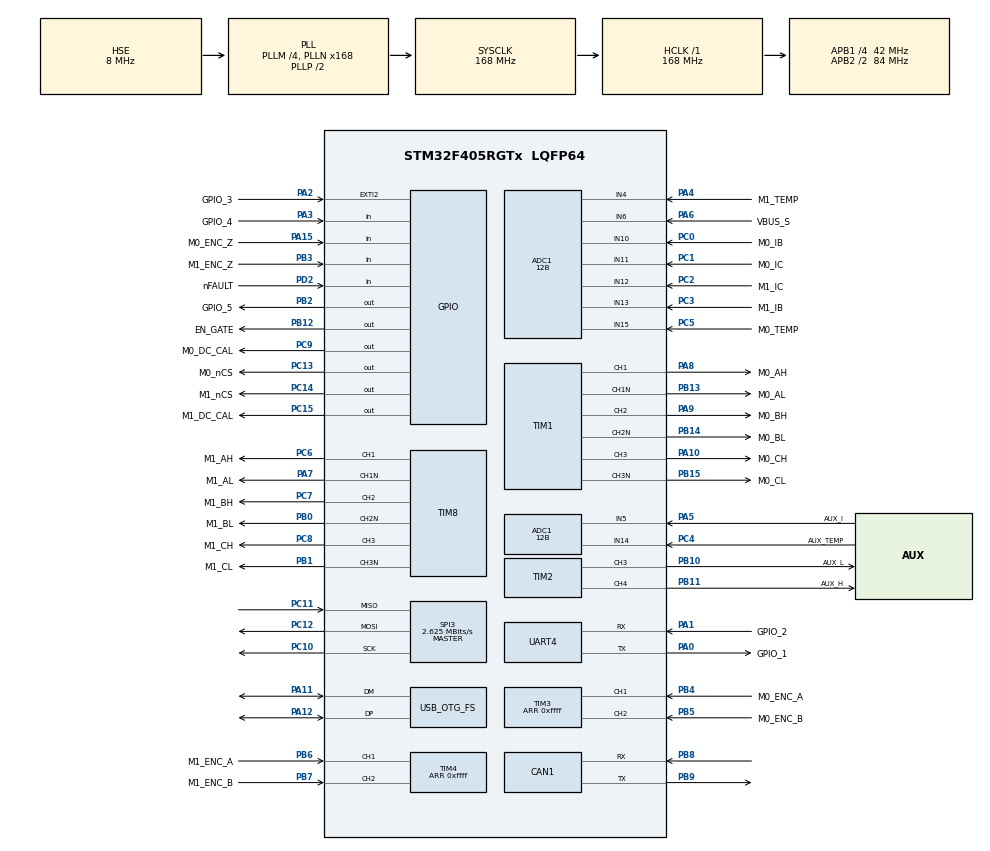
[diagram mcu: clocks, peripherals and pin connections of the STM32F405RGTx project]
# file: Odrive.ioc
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ADC1.Channel-0\#ChannelRegularConversion=ADC_CHANNEL_6
ADC1.Channel-1\#ChannelInjectedConversion=ADC_CHANNEL_6
ADC1.ClockPrescaler=ADC_CLOCK_SYNC_PCLK_DIV4
ADC1.ContinuousConvMode=DISABLE
ADC1.DMAContinuousRequests=DISABLE
ADC1.DataAlign=ADC_DATAALIGN_RIGHT
ADC1.DiscontinuousConvMode=DISABLE
ADC1.EOCSelection=ADC_EOC_SINGLE_CONV
ADC1.EnableAnalogWatchDog=false
ADC1.ExternalTrigConv=ADC_SOFTWARE_START
ADC1.ExternalTrigConvEdge=ADC_EXTERNALTRIGCONVEDGE_NONE
ADC1.ExternalTrigInjecConv=ADC_EXTERNALTRIGINJECCONV_T1_TRGO
ADC1.ExternalTrigInjecConvEdge=ADC_EXTERNALTRIGINJECCONVEDGE_RISING
ADC1.InjNumberOfConversion=1
ADC1.InjectedConvMode=None
ADC1.InjectedOffset-1\#ChannelInjectedConversion=0
ADC1.NbrOfConversion=1
ADC1.NbrOfConversionFlag=1
ADC1.Rank-0\#ChannelRegularConversion=1
ADC1.Rank-1\#ChannelInjectedConversion=1
ADC1.Resolution=ADC_RESOLUTION_12B
ADC1.SamplingTime-0\#ChannelRegularConversion=ADC_SAMPLETIME_3CYCLES
ADC1.SamplingTime-1\#ChannelInjectedConversion=ADC_SAMPLETIME_3CYCLES
ADC1.ScanConvMode=DISABLE
ADC1.master=1
ADC2.Channel-0\#ChannelRegularConversion=ADC_CHANNEL_13
ADC2.Channel-1\#ChannelInjectedConversion=ADC_CHANNEL_10
ADC2.ClockPrescaler=ADC_CLOCK_SYNC_PCLK_DIV4
ADC2.ContinuousConvMode=DISABLE
ADC2.DMAContinuousRequests=DISABLE
ADC2.DataAlign=ADC_DATAALIGN_RIGHT
ADC2.DiscontinuousConvMode=DISABLE
ADC2.EOCSelection=ADC_EOC_SINGLE_CONV
ADC2.EnableAnalogWatchDog=false
ADC2.ExternalTrigConv=ADC_EXTERNALTRIGCONV_T8_TRGO
ADC2.ExternalTrigConvEdge=ADC_EXTERNALTRIGCONVEDGE_RISING
ADC2.ExternalTrigInjecConv=ADC_EXTERNALTRIGINJECCONV_T1_TRGO
ADC2.ExternalTrigInjecConvEdge=ADC_EXTERNALTRIGINJECCONVEDGE_RISING
ADC2.InjNumberOfConversion=1
ADC2.InjectedConvMode=None
ADC2.InjectedOffset-1\#ChannelInjectedConversion=0
ADC2.NbrOfConversion=1
ADC2.NbrOfConversionFlag=1
ADC2.Rank-0\#ChannelRegularConversion=1
ADC2.Rank-1\#ChannelInjectedConversion=1
ADC2.Resolution=ADC_RESOLUTION_12B
ADC2.SamplingTime-0\#ChannelRegularConversion=ADC_SAMPLETIME_3CYCLES
ADC2.SamplingTime-1\#ChannelInjectedConversion=ADC_SAMPLETIME_3CYCLES
ADC2.ScanConvMode=DISABLE
ADC3.Channel-7\#ChannelRegularConversion=ADC_CHANNEL_12
ADC3.Channel-8\#ChannelInjectedConversion=ADC_CHANNEL_11
ADC3.ClockPrescaler=ADC_CLOCK_SYNC_PCLK_DIV4
ADC3.ContinuousConvMode=DISABLE
ADC3.DMAContinuousRequests=DISABLE
ADC3.DataAlign=ADC_DATAALIGN_RIGHT
ADC3.DiscontinuousConvMode=DISABLE
ADC3.EOCSelection=ADC_EOC_SINGLE_CONV
ADC3.EnableAnalogWatchDog=false
ADC3.ExternalTrigConv=ADC_EXTERNALTRIGCONV_T8_TRGO
ADC3.ExternalTrigConvEdge=ADC_EXTERNALTRIGCONVEDGE_RISING
ADC3.ExternalTrigInjecConv=ADC_EXTERNALTRIGINJECCONV_T1_TRGO
ADC3.ExternalTrigInjecConvEdge=ADC_EXTERNALTRIGINJECCONVEDGE_RISING
ADC3.InjNumberOfConversion=1
ADC3.InjectedConvMode=None
ADC3.InjectedOffset-8\#ChannelInjectedConversion=0
ADC3.NbrOfConversion=1
ADC3.NbrOfConversionFlag=1
ADC3.Rank-7\#ChannelRegularConversion=1
ADC3.Rank-8\#ChannelInjectedConversion=1
ADC3.Resolution=ADC_RESOLUTION_12B
ADC3.SamplingTime-7\#ChannelRegularConversion=ADC_SAMPLETIME_3CYCLES
ADC3.SamplingTime-8\#ChannelInjectedConversion=ADC_SAMPLETIME_3CYCLES
ADC3.ScanConvMode=DISABLE
CAN1.BS1=CAN_BS1_1TQ
CAN1.BS2=CAN_BS2_1TQ
CAN1.CalculateTimeBit=1142
CAN1.CalculateTimeQuantum=380.95238095238096
Dma.Request0=UART4_RX
Dma.Request1=UART4_TX
Dma.UART4_RX.0.Direction=DMA_PERIPH_TO_MEMORY
Dma.UART4_RX.0.FIFOMode=DMA_FIFOMODE_DISABLE
Dma.UART4_RX.0.Instance=DMA1_Stream2
Dma.UART4_RX.0.MemDataAlignment=DMA_MDATAALIGN_BYTE
Dma.UART4_RX.0.MemInc=DMA_MINC_ENABLE
Dma.UART4_RX.0.Mode=DMA_CIRCULAR
Dma.UART4_RX.0.PeriphDataAlignment=DMA_PDATAALIGN_BYTE
Dma.UART4_RX.0.PeriphInc=DMA_PINC_DISABLE
Dma.UART4_RX.0.Priority=DMA_PRIORITY_LOW
Dma.UART4_TX.1.Direction=DMA_MEMORY_TO_PERIPH
Dma.UART4_TX.1.FIFOMode=DMA_FIFOMODE_DISABLE
Dma.UART4_TX.1.Instance=DMA1_Stream4
Dma.UART4_TX.1.MemDataAlignment=DMA_MDATAALIGN_BYTE
Dma.UART4_TX.1.MemInc=DMA_MINC_ENABLE
Dma.UART4_TX.1.Mode=DMA_NORMAL
Dma.UART4_TX.1.PeriphDataAlignment=DMA_PDATAALIGN_BYTE
Dma.UART4_TX.1.PeriphInc=DMA_PINC_DISABLE
Dma.UART4_TX.1.Priority=DMA_PRIORITY_LOW
FREERTOS.INCLUDE_vTaskDelayUntil=1
FREERTOS.Tasks01=defaultTask,-3,256,StartDefaultTask,Default
Mcu.Family=STM32F4
Mcu.Name=STM32F405RGTx
Mcu.Package=LQFP64
Mcu.UserConstants=TIM_1_8_CLOCK_HZ,168000000;TIM_1_8_PERIOD_CLOCKS,10192;TIM_1_8_DEADTIME_CLOCKS,20;TIM_APB1_CLOCK_HZ,84000000;TIM_APB1_PERIOD_CLOCKS,4096;TIM_APB1_DEADTIME_CLOCKS,40
NVIC.ADC_IRQn=true\:5\:0\:false\:false\:true\:true\:true
NVIC.DMA1_Stream2_IRQn=true\:5\:0\:false\:false\:true\:true\:true
NVIC.DMA1_Stream4_IRQn=true\:5\:0\:false\:false\:true\:true\:false
NVIC.EXTI2_IRQn=true\:0\:0\:false\:false\:false\:false\:true
NVIC.OTG_FS_IRQn=true\:5\:0\:false\:false\:true\:true\:true
NVIC.PriorityGroup=NVIC_PRIORITYGROUP_4
NVIC.TIM1_UP_TIM10_IRQn=true\:5\:0\:false\:false\:true\:true\:true
NVIC.TIM8_TRG_COM_TIM14_IRQn=true\:0\:0\:false\:false\:true\:false\:false
NVIC.TimeBase=TIM8_TRG_COM_TIM14_IRQn
NVIC.TimeBaseIP=TIM14
NVIC.UART4_IRQn=true\:5\:0\:false\:false\:true\:true\:true
PA0-WKUP.GPIO_Label=GPIO_1
PA0-WKUP.GPIO_PuPd=GPIO_PULLDOWN
PA0-WKUP.Signal=SharedStack_PA0
PA0-WKUP.Stacked=true
PA1.GPIO_Label=GPIO_2
PA1.GPIO_PuPd=GPIO_NOPULL
PA1.Signal=SharedStack_PA1
PA1.Stacked=true
PA10.GPIO_Label=M0_CH
PA10.Signal=S_TIM1_CH3
PA11.Mode=Device_Only
PA11.Signal=USB_OTG_FS_DM
PA12.Mode=Device_Only
PA12.Signal=USB_OTG_FS_DP
PA13.Mode=Serial_Wire
PA13.Signal=SYS_JTMS-SWDIO
PA14.Mode=Serial_Wire
PA14.Signal=SYS_JTCK-SWCLK
PA15.GPIO_Label=M0_ENC_Z
PA15.Signal=GPIO_Input
PA2.GPIO_Label=GPIO_3
PA2.GPIO_PuPd=GPIO_PULLDOWN
PA2.Signal=GPXTI2
PA3.GPIO_Label=GPIO_4
PA3.GPIO_PuPd=GPIO_NOPULL
PA3.Signal=GPIO_Input
PA4.GPIO_Label=M1_TEMP
PA4.Signal=ADCx_IN4
PA5.GPIO_Label=AUX_I
PA5.Signal=ADCx_IN5
PA6.GPIO_Label=VBUS_S
PA6.Signal=ADCx_IN6
PA7.GPIO_Label=M1_AL
PA7.Mode=PWM Generation1 CH1 CH1N
PA7.Signal=TIM8_CH1N
PA8.GPIO_Label=M0_AH
PA8.Signal=S_TIM1_CH1
PA9.GPIO_Label=M0_BH
PA9.Signal=S_TIM1_CH2
PB0.GPIO_Label=M1_BL
PB0.Mode=PWM Generation2 CH2 CH2N
PB0.Signal=TIM8_CH2N
PB1.GPIO_Label=M1_CL
PB1.Mode=PWM Generation3 CH3 CH3N
PB1.Signal=TIM8_CH3N
PB10.GPIO_Label=AUX_L
PB10.Signal=S_TIM2_CH3
PB11.GPIO_Label=AUX_H
PB11.Signal=S_TIM2_CH4
PB12.GPIO_Label=EN_GATE
PB12.Signal=GPIO_Output
PB13.GPIO_Label=M0_AL
PB13.Mode=PWM Generation1 CH1 CH1N
PB13.Signal=TIM1_CH1N
PB14.GPIO_Label=M0_BL
PB14.Mode=PWM Generation2 CH2 CH2N
PB14.Signal=TIM1_CH2N
PB15.GPIO_Label=M0_CL
PB15.Mode=PWM Generation3 CH3 CH3N
PB15.Signal=TIM1_CH3N
PB2.GPIO_Label=GPIO_5
PB2.Signal=GPIO_Output
PB3.GPIO_Label=M1_ENC_Z
PB3.Signal=GPIO_Input
PB4.GPIO_Label=M0_ENC_A
PB4.Signal=S_TIM3_CH1
PB5.GPIO_Label=M0_ENC_B
PB5.Signal=S_TIM3_CH2
PB6.GPIO_Label=M1_ENC_A
PB6.Signal=S_TIM4_CH1
PB7.GPIO_Label=M1_ENC_B
PB7.Signal=S_TIM4_CH2
PB8.Mode=Master
PB8.Signal=CAN1_RX
PB9.Mode=Master
PB9.Signal=CAN1_TX
PC0.GPIO_Label=M0_IB
PC0.Signal=ADCx_IN10
PC1.GPIO_Label=M0_IC
PC1.Signal=ADCx_IN11
PC10.Mode=Full_Duplex_Master
PC10.Signal=SPI3_SCK
PC11.Mode=Full_Duplex_Master
PC11.Signal=SPI3_MISO
PC12.Mode=Full_Duplex_Master
PC12.Signal=SPI3_MOSI
PC13-ANTI_TAMP.GPIO_Label=M0_nCS
PC13-ANTI_TAMP.PinState=GPIO_PIN_SET
PC13-ANTI_TAMP.Signal=GPIO_Output
PC14-OSC32_IN.GPIO_Label=M1_nCS
PC14-OSC32_IN.PinState=GPIO_PIN_SET
PC14-OSC32_IN.Signal=GPIO_Output
PC15-OSC32_OUT.GPIO_Label=M1_DC_CAL
PC15-OSC32_OUT.Signal=GPIO_Output
PC2.GPIO_Label=M1_IC
PC2.Signal=ADCx_IN12
PC3.GPIO_Label=M1_IB
PC3.Signal=ADCx_IN13
PC4.GPIO_Label=AUX_TEMP
PC4.Signal=ADCx_IN14
PC5.GPIO_Label=M0_TEMP
PC5.Signal=ADCx_IN15
PC6.GPIO_Label=M1_AH
PC6.Signal=S_TIM8_CH1
PC7.GPIO_Label=M1_BH
PC7.Signal=S_TIM8_CH2
PC8.GPIO_Label=M1_CH
PC8.Signal=S_TIM8_CH3
PC9.GPIO_Label=M0_DC_CAL
PC9.Signal=GPIO_Output
PD2.GPIO_Label=nFAULT
PD2.GPIO_PuPd=GPIO_PULLUP
PD2.Signal=GPIO_Input
PH0-OSC_IN.Mode=HSE-External-Oscillator
PH0-OSC_IN.Signal=RCC_OSC_IN
PH1-OSC_OUT.Mode=HSE-External-Oscillator
PH1-OSC_OUT.Signal=RCC_OSC_OUT
ProjectManager.HeapSize=0x3C00
ProjectManager.StackSize=0x800
ProjectManager.TargetToolchain=SW4STM32
RCC.48MHZClocksFreq_Value=48000000
RCC.AHBFreq_Value=168000000
RCC.APB1CLKDivider=RCC_HCLK_DIV4
RCC.APB1Freq_Value=42000000
RCC.APB1TimFreq_Value=84000000
RCC.APB2CLKDivider=RCC_HCLK_DIV2
RCC.APB2Freq_Value=84000000
RCC.APB2TimCLKDivider=1
RCC.APB2TimFreq_Value=84000000
RCC.CortexFreq_Value=168000000
RCC.HCLKFreq_Value=168000000
RCC.HSE_VALUE=8000000
RCC.HSI_VALUE=16000000
RCC.LSE_VALUE=32768
RCC.PLLM=4
RCC.PLLN=168
RCC.PLLQ=7
RCC.SYSCLKFreq_VALUE=168000000
RCC.SYSCLKSource=RCC_SYSCLKSOURCE_PLLCLK
RCC.VCOOutputFreq_Value=336000000
SH.ADCx_IN10.0=ADC1_IN10,IN10
SH.ADCx_IN10.1=ADC2_IN10,IN10
SH.ADCx_IN10.2=ADC3_IN10,IN10
SH.ADCx_IN11.0=ADC1_IN11,IN11
SH.ADCx_IN11.1=ADC2_IN11,IN11
SH.ADCx_IN11.2=ADC3_IN11,IN11
SH.ADCx_IN12.0=ADC1_IN12,IN12
SH.ADCx_IN12.1=ADC2_IN12,IN12
SH.ADCx_IN12.2=ADC3_IN12,IN12
SH.ADCx_IN13.0=ADC1_IN13,IN13
SH.ADCx_IN13.1=ADC2_IN13,IN13
SH.ADCx_IN13.2=ADC3_IN13,IN13
SH.ADCx_IN14.0=ADC1_IN14,IN14
SH.ADCx_IN14.1=ADC2_IN14,IN14
SH.ADCx_IN15.0=ADC1_IN15,IN15
SH.ADCx_IN15.1=ADC2_IN15,IN15
SH.ADCx_IN4.0=ADC1_IN4,IN4
SH.ADCx_IN4.1=ADC2_IN4,IN4
SH.ADCx_IN5.0=ADC1_IN5,IN5
SH.ADCx_IN5.1=ADC2_IN5,IN5
SH.ADCx_IN6.0=ADC1_IN6,IN6
SH.ADCx_IN6.1=ADC2_IN6,IN6
SH.S_TIM1_CH1.0=TIM1_CH1,PWM Generation1 CH1 CH1N
SH.S_TIM1_CH2.0=TIM1_CH2,PWM Generation2 CH2 CH2N
SH.S_TIM1_CH3.0=TIM1_CH3,PWM Generation3 CH3 CH3N
SH.S_TIM2_CH3.0=TIM2_CH3,PWM Generation3 CH3
SH.S_TIM2_CH4.0=TIM2_CH4,PWM Generation4 CH4
SH.S_TIM3_CH1.0=TIM3_CH1,Encoder_Interface
SH.S_TIM3_CH2.0=TIM3_CH2,Encoder_Interface
SH.S_TIM4_CH1.0=TIM4_CH1,Encoder_Interface
SH.S_TIM4_CH2.0=TIM4_CH2,Encoder_Interface
SH.S_TIM8_CH1.0=TIM8_CH1,PWM Generation1 CH1 CH1N
SH.S_TIM8_CH2.0=TIM8_CH2,PWM Generation2 CH2 CH2N
SH.S_TIM8_CH3.0=TIM8_CH3,PWM Generation3 CH3 CH3N
SH.SharedStack_PA0.0=GPIO_EXTI0+0
SH.SharedStack_PA0.1=UART4_TX,Asynchronous
SH.SharedStack_PA1.0=GPIO_Input+0
SH.SharedStack_PA1.1=UART4_RX,Asynchronous
SPI3.BaudRatePrescaler=SPI_BAUDRATEPRESCALER_16
SPI3.CLKPhase=SPI_PHASE_2EDGE
SPI3.CalculateBaudRate=2.625 MBits/s
SPI3.DataSize=SPI_DATASIZE_16BIT
SPI3.Direction=SPI_DIRECTION_2LINES
SPI3.FirstBit=SPI_FIRSTBIT_MSB
SPI3.Mode=SPI_MODE_MASTER
SPI3.VirtualType=VM_MASTER
TIM1.Channel-Output\ Compare4\ No\ Output=TIM_CHANNEL_4
TIM1.Channel-PWM\ Generation1\ CH1\ CH1N=TIM_CHANNEL_1
TIM1.Channel-PWM\ Generation2\ CH2\ CH2N=TIM_CHANNEL_2
TIM1.Channel-PWM\ Generation3\ CH3\ CH3N=TIM_CHANNEL_3
TIM1.CounterMode=TIM_COUNTERMODE_CENTERALIGNED3
TIM1.DeadTime=TIM_1_8_DEADTIME_CLOCKS
TIM1.OCMode_PWM-PWM\ Generation1\ CH1\ CH1N=TIM_OCMODE_PWM2
TIM1.OCMode_PWM-PWM\ Generation2\ CH2\ CH2N=TIM_OCMODE_PWM2
TIM1.OCMode_PWM-PWM\ Generation3\ CH3\ CH3N=TIM_OCMODE_PWM2
TIM1.OCNPolarity_1=TIM_OCNPOLARITY_HIGH
TIM1.OCNPolarity_2=TIM_OCNPOLARITY_HIGH
TIM1.OCNPolarity_3=TIM_OCNPOLARITY_HIGH
TIM1.OffStateIDLEMode=TIM_OSSI_ENABLE
TIM1.OffStateRunMode=TIM_OSSR_ENABLE
TIM1.Period=TIM_1_8_PERIOD_CLOCKS
TIM1.TIM_MasterOutputTrigger=TIM_TRGO_UPDATE
TIM10.Period=55999
TIM10.Prescaler=2
TIM2.Channel-PWM\ Generation3\ CH3=TIM_CHANNEL_3
TIM2.Channel-PWM\ Generation4\ CH4=TIM_CHANNEL_4
TIM2.CounterMode=TIM_COUNTERMODE_CENTERALIGNED3
TIM2.OCMode_PWM-PWM\ Generation3\ CH3=TIM_OCMODE_PWM2
TIM2.OCMode_PWM-PWM\ Generation4\ CH4=TIM_OCMODE_PWM2
TIM2.OCPolarity_3=TIM_OCPOLARITY_LOW
TIM2.Period=TIM_APB1_PERIOD_CLOCKS
TIM2.Pulse-PWM\ Generation4\ CH4=TIM_APB1_PERIOD_CLOCKS+1
TIM3.EncoderMode=TIM_ENCODERMODE_TI12
TIM3.IC1Filter=4
TIM3.IC1Polarity=TIM_ICPOLARITY_RISING
TIM3.IC2Filter=4
TIM3.IC2Polarity=TIM_ICPOLARITY_RISING
TIM3.Period=0xffff
TIM4.EncoderMode=TIM_ENCODERMODE_TI12
TIM4.IC1Filter=4
TIM4.IC1Polarity=TIM_ICPOLARITY_RISING
TIM4.IC2Filter=4
TIM4.IC2Polarity=TIM_ICPOLARITY_RISING
TIM4.Period=0xffff
TIM8.Channel-Output\ Compare4\ No\ Output=TIM_CHANNEL_4
TIM8.Channel-PWM\ Generation1\ CH1\ CH1N=TIM_CHANNEL_1
TIM8.Channel-PWM\ Generation2\ CH2\ CH2N=TIM_CHANNEL_2
TIM8.Channel-PWM\ Generation3\ CH3\ CH3N=TIM_CHANNEL_3
TIM8.CounterMode=TIM_COUNTERMODE_CENTERALIGNED3
TIM8.DeadTime=TIM_1_8_DEADTIME_CLOCKS
TIM8.OCMode_PWM-PWM\ Generation1\ CH1\ CH1N=TIM_OCMODE_PWM2
TIM8.OCMode_PWM-PWM\ Generation2\ CH2\ CH2N=TIM_OCMODE_PWM2
TIM8.OCMode_PWM-PWM\ Generation3\ CH3\ CH3N=TIM_OCMODE_PWM2
TIM8.OffStateIDLEMode=TIM_OSSI_ENABLE
TIM8.OffStateRunMode=TIM_OSSR_ENABLE
TIM8.Period=TIM_1_8_PERIOD_CLOCKS
TIM8.TIM_MasterOutputTrigger=TIM_TRGO_UPDATE
UART4.VirtualMode=Asynchronous
USB_DEVICE.APP_RX_DATA_SIZE-CDC_FS=64
USB_DEVICE.APP_TX_DATA_SIZE-CDC_FS=64
USB_DEVICE.CLASS_NAME_FS=CDC
USB_DEVICE.MANUFACTURER_STRING-CDC_FS=ODrive Robotics
USB_DEVICE.PID_CDC_FS=0x0D33
USB_DEVICE.PRODUCT_STRING_CDC_FS=ODrive v3.4
USB_DEVICE.SERIALNUMBER_STRING_CDC_FS=000000000001
USB_DEVICE.VID-CDC_FS=0x1209
USB_DEVICE.VirtualMode-CDC_FS=Cdc
USB_DEVICE.VirtualModeFS=Cdc_FS
USB_OTG_FS.VirtualMode=Device_Only
USB_OTG_FS.vbus_sensing_enable=DISABLE
VP_FREERTOS_VS_ENABLE.Mode=Enabled
VP_SYS_VS_tim14.Mode=TIM14
VP_TIM10_VS_ClockSourceINT.Mode=Enable_Timer
VP_TIM1_VS_ClockSourceINT.Mode=Internal
VP_TIM1_VS_no_output4.Mode=Output Compare4 No Output
VP_USB_DEVICE_VS_USB_DEVICE_CDC_FS.Mode=CDC_FS
board=Odrive

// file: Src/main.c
/**
  ******************************************************************************
  * File Name          : main.c
  * Description        : Main program body
  ******************************************************************************
  * This notice applies to any and all portions of this file
  * that are not between comment pairs USER CODE BEGIN and
  * USER CODE END. Other portions of this file, whether
  * inserted by the user or by software development tools
  * are owned by their respective copyright owners.
  *
  * Copyright (c) 2018 STMicroelectronics International N.V.
  * All rights reserved.
  *
  * Redistribution and use in source and binary forms, with or without
  * modification, are permitted, provided that the following conditions are met:
  *
  * 1. Redistribution of source code must retain the above copyright notice,
  *    this list of conditions and the following disclaimer.
  * 2. Redistributions in binary form must reproduce the above copyright notice,
  *    this list of conditions and the following disclaimer in the documentation
  *    and/or other materials provided with the distribution.
  * 3. Neither the name of STMicroelectronics nor the names of other
  *    contributors to this software may be used to endorse or promote products
  *    derived from this software without specific written permission.
  * 4. This software, including modifications and/or derivative works of this
  *    software, must execute solely and exclusively on microcontroller or
  *    microprocessor devices manufactured by or for STMicroelectronics.
  * 5. Redistribution and use of this software other than as permitted under
  *    this license is void and will automatically terminate your rights under
  *    this license.
  *
  * THIS SOFTWARE IS PROVIDED BY STMICROELECTRONICS AND CONTRIBUTORS "AS IS"
  * AND ANY EXPRESS, IMPLIED OR STATUTORY WARRANTIES, INCLUDING, BUT NOT
  * LIMITED TO, THE IMPLIED WARRANTIES OF MERCHANTABILITY, FITNESS FOR A
  * PARTICULAR PURPOSE AND NON-INFRINGEMENT OF THIRD PARTY INTELLECTUAL PROPERTY
  * RIGHTS ARE DISCLAIMED TO THE FULLEST EXTENT PERMITTED BY LAW. IN NO EVENT
  * SHALL STMICROELECTRONICS OR CONTRIBUTORS BE LIABLE FOR ANY DIRECT, INDIRECT,
  * INCIDENTAL, SPECIAL, EXEMPLARY, OR CONSEQUENTIAL DAMAGES (INCLUDING, BUT NOT
  * LIMITED TO, PROCUREMENT OF SUBSTITUTE GOODS OR SERVICES; LOSS OF USE, DATA,
  * OR PROFITS; OR BUSINESS INTERRUPTION) HOWEVER CAUSED AND ON ANY THEORY OF
  * LIABILITY, WHETHER IN CONTRACT, STRICT LIABILITY, OR TORT (INCLUDING
  * NEGLIGENCE OR OTHERWISE) ARISING IN ANY WAY OUT OF THE USE OF THIS SOFTWARE,
  * EVEN IF ADVISED OF THE POSSIBILITY OF SUCH DAMAGE.
  *
  ******************************************************************************
  */

#include "main.h"
#include "stm32f4xx_hal.h"
#include "cmsis_os.h"
#include "adc.h"
#include "can.h"
#include "dma.h"
#include "spi.h"
#include "tim.h"
#include "usart.h"
#include "usb_device.h"
#include "gpio.h"

/* USER CODE BEGIN PV */
/* Private variables ---------------------------------------------------------*/

/* USER CODE END PV */

void SystemClock_Config(void);
void MX_FREERTOS_Init(void);

/* USER CODE BEGIN PFP */
/* Private function prototypes -----------------------------------------------*/

/* USER CODE END PFP */

int main(void)
{

  /* MCU Configuration----------------------------------------------------------*/

  /* Reset of all peripherals, Initializes the Flash interface and the Systick. */
  HAL_Init();

  /* Configure the system clock */
  SystemClock_Config();

  /* Initialize all configured peripherals */
  MX_GPIO_Init();
  MX_DMA_Init();
  MX_ADC1_Init();
  MX_ADC2_Init();
  MX_CAN1_Init();
  MX_TIM1_Init();
  MX_TIM8_Init();
  MX_TIM3_Init();
  MX_TIM4_Init();
  MX_SPI3_Init();
  MX_ADC3_Init();
  MX_TIM2_Init();
  MX_UART4_Init();
  MX_TIM10_Init();

  /* USER CODE BEGIN 2 */

  //Required to use OC4 for ADC triggering.
  OC4_PWM_Override(&htim1);
  OC4_PWM_Override(&htim8);

  /* USER CODE END 2 */

  /* Call init function for freertos objects (in freertos.c) */
  MX_FREERTOS_Init();

  /* Start scheduler */
  osKernelStart();

  /* We should never get here as control is now taken by the scheduler */

  /* Infinite loop */
  while (1)
  {

  }

}

/** System Clock Configuration
*/
void SystemClock_Config(void)
{

  RCC_OscInitTypeDef RCC_OscInitStruct;
  RCC_ClkInitTypeDef RCC_ClkInitStruct;

    /**Configure the main internal regulator output voltage
    */
  __HAL_RCC_PWR_CLK_ENABLE();

  __HAL_PWR_VOLTAGESCALING_CONFIG(PWR_REGULATOR_VOLTAGE_SCALE1);

    /**Initializes the CPU, AHB and APB busses clocks
    */
  RCC_OscInitStruct.OscillatorType = RCC_OSCILLATORTYPE_HSE;
  RCC_OscInitStruct.HSEState = RCC_HSE_ON;
  RCC_OscInitStruct.PLL.PLLState = RCC_PLL_ON;
  RCC_OscInitStruct.PLL.PLLSource = RCC_PLLSOURCE_HSE;
  RCC_OscInitStruct.PLL.PLLM = 4;
  RCC_OscInitStruct.PLL.PLLN = 168;
  RCC_OscInitStruct.PLL.PLLP = RCC_PLLP_DIV2;
  RCC_OscInitStruct.PLL.PLLQ = 7;
  if (HAL_RCC_OscConfig(&RCC_OscInitStruct) != HAL_OK)
  {
    _Error_Handler(__FILE__, __LINE__);
  }

    /**Initializes the CPU, AHB and APB busses clocks
    */
  RCC_ClkInitStruct.ClockType = RCC_CLOCKTYPE_HCLK|RCC_CLOCKTYPE_SYSCLK
                              |RCC_CLOCKTYPE_PCLK1|RCC_CLOCKTYPE_PCLK2;
  RCC_ClkInitStruct.SYSCLKSource = RCC_SYSCLKSOURCE_PLLCLK;
  RCC_ClkInitStruct.AHBCLKDivider = RCC_SYSCLK_DIV1;
  RCC_ClkInitStruct.APB1CLKDivider = RCC_HCLK_DIV4;
  RCC_ClkInitStruct.APB2CLKDivider = RCC_HCLK_DIV2;

  if (HAL_RCC_ClockConfig(&RCC_ClkInitStruct, FLASH_LATENCY_5) != HAL_OK)
  {
    _Error_Handler(__FILE__, __LINE__);
  }

    /**Configure the Systick interrupt time
    */
  HAL_SYSTICK_Config(HAL_RCC_GetHCLKFreq()/1000);

    /**Configure the Systick
    */
  HAL_SYSTICK_CLKSourceConfig(SYSTICK_CLKSOURCE_HCLK);

  /* SysTick_IRQn interrupt configuration */
  HAL_NVIC_SetPriority(SysTick_IRQn, 15, 0);
}

void HAL_TIM_PeriodElapsedCallback(TIM_HandleTypeDef *htim)
{
  if (htim->Instance == TIM14) {
    HAL_IncTick();
  }
  else if(htim->Instance == TIM10) {
    control_timer_cb();
  }
}

void _Error_Handler(char * file, int line)
{
  while(1)
  {
  }
}

/************************ (C) COPYRIGHT STMicroelectronics *****END OF FILE****/

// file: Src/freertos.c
/**
  ******************************************************************************
  * File Name          : freertos.c
  * Description        : Code for freertos applications
  ******************************************************************************
  * This notice applies to any and all portions of this file
  * that are not between comment pairs USER CODE BEGIN and
  * USER CODE END. Other portions of this file, whether
  * inserted by the user or by software development tools
  * are owned by their respective copyright owners.
  *
  * Copyright (c) 2018 STMicroelectronics International N.V.
  * All rights reserved.
  *
  * Redistribution and use in source and binary forms, with or without
  * modification, are permitted, provided that the following conditions are met:
  *
  * 1. Redistribution of source code must retain the above copyright notice,
  *    this list of conditions and the following disclaimer.
  * 2. Redistributions in binary form must reproduce the above copyright notice,
  *    this list of conditions and the following disclaimer in the documentation
  *    and/or other materials provided with the distribution.
  * 3. Neither the name of STMicroelectronics nor the names of other
  *    contributors to this software may be used to endorse or promote products
  *    derived from this software without specific written permission.
  * 4. This software, including modifications and/or derivative works of this
  *    software, must execute solely and exclusively on microcontroller or
  *    microprocessor devices manufactured by or for STMicroelectronics.
  * 5. Redistribution and use of this software other than as permitted under
  *    this license is void and will automatically terminate your rights under
  *    this license.
  *
  * THIS SOFTWARE IS PROVIDED BY STMICROELECTRONICS AND CONTRIBUTORS "AS IS"
  * AND ANY EXPRESS, IMPLIED OR STATUTORY WARRANTIES, INCLUDING, BUT NOT
  * LIMITED TO, THE IMPLIED WARRANTIES OF MERCHANTABILITY, FITNESS FOR A
  * PARTICULAR PURPOSE AND NON-INFRINGEMENT OF THIRD PARTY INTELLECTUAL PROPERTY
  * RIGHTS ARE DISCLAIMED TO THE FULLEST EXTENT PERMITTED BY LAW. IN NO EVENT
  * SHALL STMICROELECTRONICS OR CONTRIBUTORS BE LIABLE FOR ANY DIRECT, INDIRECT,
  * INCIDENTAL, SPECIAL, EXEMPLARY, OR CONSEQUENTIAL DAMAGES (INCLUDING, BUT NOT
  * LIMITED TO, PROCUREMENT OF SUBSTITUTE GOODS OR SERVICES; LOSS OF USE, DATA,
  * OR PROFITS; OR BUSINESS INTERRUPTION) HOWEVER CAUSED AND ON ANY THEORY OF
  * LIABILITY, WHETHER IN CONTRACT, STRICT LIABILITY, OR TORT (INCLUDING
  * NEGLIGENCE OR OTHERWISE) ARISING IN ANY WAY OUT OF THE USE OF THIS SOFTWARE,
  * EVEN IF ADVISED OF THE POSSIBILITY OF SUCH DAMAGE.
  *
  ******************************************************************************
  */

#include "FreeRTOS.h"
#include "task.h"
#include "cmsis_os.h"

/* USER CODE BEGIN Includes */
#include "freertos_vars.h"
#include "low_level.h"
#include "axis_c_interface.h"
#include "pendulum_controller.h"
#include "commands.h"
/* USER CODE END Includes */

osThreadId defaultTaskHandle;

/* USER CODE BEGIN Variables */
// List of semaphores
osSemaphoreId sem_usb_irq;

// List of threads
osThreadId thread_motor_0;
//osThreadId thread_motor_1;
osThreadId thread_pendulum_control;
osThreadId thread_cmd_parse;
/* USER CODE END Variables */

void StartDefaultTask(void const * argument);

extern void MX_USB_DEVICE_Init(void);
void MX_FREERTOS_Init(void); /* (MISRA C 2004 rule 8.1) */

/* Hook prototypes */

/* Init FreeRTOS */

void MX_FREERTOS_Init(void) {

  /* USER CODE BEGIN RTOS_SEMAPHORES */
  // Init usb irq binary semaphore, and start with no tokens by removing the starting one.
  osSemaphoreDef(sem_usb_irq);
  sem_usb_irq = osSemaphoreCreate(osSemaphore(sem_usb_irq), 1);
  osSemaphoreWait(sem_usb_irq, 0);

  // Create a semaphore for UART DMA and remove a token
  osSemaphoreDef(sem_uart_dma);
  sem_uart_dma = osSemaphoreCreate(osSemaphore(sem_uart_dma), 1);

  // Create a semaphore for USB RX
  osSemaphoreDef(sem_usb_rx);
  sem_usb_rx = osSemaphoreCreate(osSemaphore(sem_usb_rx), 1);
  osSemaphoreWait(sem_usb_rx, 0);  // Remove a token.

  // Create a semaphore for USB RX
  osSemaphoreDef(sem_usb_tx);
  sem_usb_tx = osSemaphoreCreate(osSemaphore(sem_usb_tx), 1);

  /* USER CODE END RTOS_SEMAPHORES */

  /* Create the thread(s) */
  /* definition and creation of defaultTask */
  osThreadDef(defaultTask, StartDefaultTask, osPriorityIdle, 0, 256);
  defaultTaskHandle = osThreadCreate(osThread(defaultTask), NULL);

}

/* StartDefaultTask function */
void StartDefaultTask(void const * argument)
{
  /* init code for USB_DEVICE */
  MX_USB_DEVICE_Init();

  /* USER CODE BEGIN StartDefaultTask */

  // Init communications
  init_communication();

  // Init motor control
  init_motor_control();

  // Start motor threads
  osThreadDef(task_motor_0, axis_thread_entry,   osPriorityHigh+1, 0, 512);
  //osThreadDef(task_motor_1, axis_thread_entry,   osPriorityHigh,   0, 512);
  osThreadDef(task_pendulum_control, pendulum_controller_thread_entry,   osPriorityNormal,   0, 512);

  thread_motor_0 = osThreadCreate(osThread(task_motor_0), &motors[0]);
  thread_pendulum_control = osThreadCreate(osThread(task_pendulum_control), NULL);
  //thread_motor_1 = osThreadCreate(osThread(task_motor_1), &motors[1]);

  // Start command handling thread
  osThreadDef(task_cmd_parse, communication_task, osPriorityNormal, 0, 512);
  thread_cmd_parse = osThreadCreate(osThread(task_cmd_parse), NULL);

  // Start USB interrupt handler thread
  osThreadDef(task_usb_pump, usb_update_thread, osPriorityNormal, 0, 512);
  thread_usb_pump = osThreadCreate(osThread(task_usb_pump), NULL);

  //If we get to here, then the default task is done.
  vTaskDelete(defaultTaskHandle);

  /* USER CODE END StartDefaultTask */
}

/************************ (C) COPYRIGHT STMicroelectronics *****END OF FILE****/
